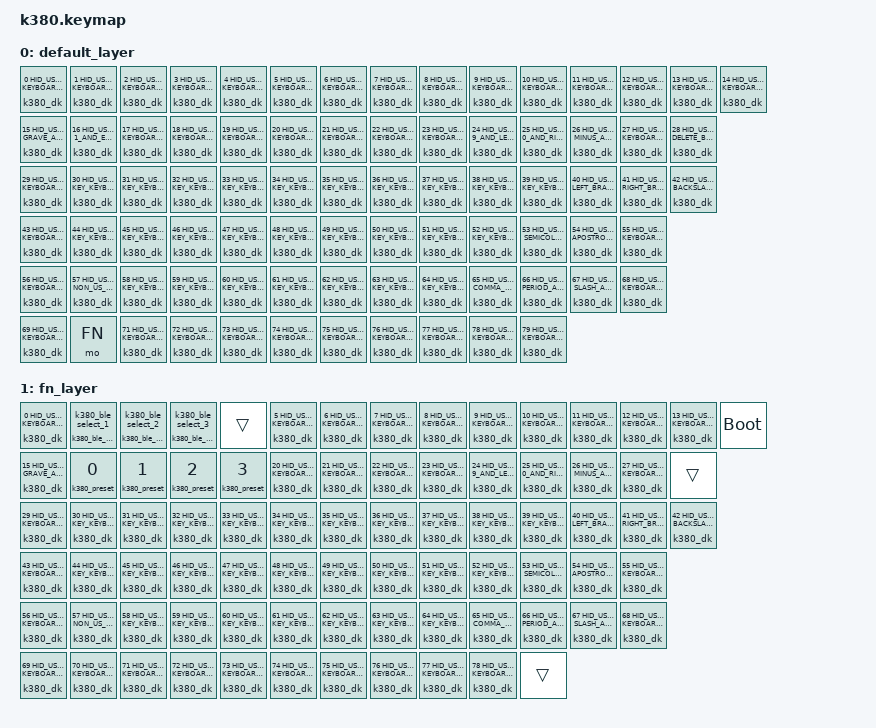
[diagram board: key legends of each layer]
/*
 * Copyright (c) 2026
 *
 * SPDX-License-Identifier: MIT
 */

#include <behaviors.dtsi>
#include <dt-bindings/zmk/keys.h>

#define DEFAULT 0
#define FN      1

#define K380_BLE_SLOT_SELECT 0
#define K380_BLE_SLOT_PAIR   1

/ {
    behaviors {
        k380_ble: k380_ble_slot {
            compatible = "k380,behavior-ble-slot";
            #binding-cells = <2>;
            display-name = "K380 BLE Slot";
        };

        k380_dk: k380_dynamic_key {
            compatible = "k380,behavior-dynamic-key";
            #binding-cells = <2>;
            display-name = "K380 Dynamic Key";
        };

        k380_preset: k380_preset {
            compatible = "k380,behavior-preset-switch";
            #binding-cells = <1>;
            display-name = "K380 Preset";
        };

        k380_bt_1: k380_bt_1 {
            compatible = "zmk,behavior-hold-tap";
            #binding-cells = <2>;
            flavor = "tap-preferred";
            tapping-term-ms = <500>;
            bindings = <&k380_ble_pair_1 &k380_ble_select_1>;
        };

        k380_bt_2: k380_bt_2 {
            compatible = "zmk,behavior-hold-tap";
            #binding-cells = <2>;
            flavor = "tap-preferred";
            tapping-term-ms = <500>;
            bindings = <&k380_ble_pair_2 &k380_ble_select_2>;
        };

        k380_bt_3: k380_bt_3 {
            compatible = "zmk,behavior-hold-tap";
            #binding-cells = <2>;
            flavor = "tap-preferred";
            tapping-term-ms = <500>;
            bindings = <&k380_ble_pair_3 &k380_ble_select_3>;
        };
    };

    macros {
        k380_ble_pair_1: k380_ble_pair_1 {
            compatible = "zmk,behavior-macro";
            #binding-cells = <0>;
            bindings = <&k380_ble K380_BLE_SLOT_PAIR 1>;
        };

        k380_ble_select_1: k380_ble_select_1 {
            compatible = "zmk,behavior-macro";
            #binding-cells = <0>;
            bindings = <&k380_ble K380_BLE_SLOT_SELECT 1>;
        };

        k380_ble_pair_2: k380_ble_pair_2 {
            compatible = "zmk,behavior-macro";
            #binding-cells = <0>;
            bindings = <&k380_ble K380_BLE_SLOT_PAIR 2>;
        };

        k380_ble_select_2: k380_ble_select_2 {
            compatible = "zmk,behavior-macro";
            #binding-cells = <0>;
            bindings = <&k380_ble K380_BLE_SLOT_SELECT 2>;
        };

        k380_ble_pair_3: k380_ble_pair_3 {
            compatible = "zmk,behavior-macro";
            #binding-cells = <0>;
            bindings = <&k380_ble K380_BLE_SLOT_PAIR 3>;
        };

        k380_ble_select_3: k380_ble_select_3 {
            compatible = "zmk,behavior-macro";
            #binding-cells = <0>;
            bindings = <&k380_ble K380_BLE_SLOT_SELECT 3>;
        };
    };

    keymap {
        compatible = "zmk,keymap";

        default_layer {
            bindings = <
                &k380_dk 0 HID_USAGE_KEY_KEYBOARD_ESCAPE     &k380_dk 1 HID_USAGE_KEY_KEYBOARD_F1   &k380_dk 2 HID_USAGE_KEY_KEYBOARD_F2   &k380_dk 3 HID_USAGE_KEY_KEYBOARD_F3   &k380_dk 4 HID_USAGE_KEY_KEYBOARD_F4   &k380_dk 5 HID_USAGE_KEY_KEYBOARD_F5   &k380_dk 6 HID_USAGE_KEY_KEYBOARD_F6   &k380_dk 7 HID_USAGE_KEY_KEYBOARD_F7   &k380_dk 8 HID_USAGE_KEY_KEYBOARD_F8   &k380_dk 9 HID_USAGE_KEY_KEYBOARD_F9   &k380_dk 10 HID_USAGE_KEY_KEYBOARD_F10  &k380_dk 11 HID_USAGE_KEY_KEYBOARD_F11  &k380_dk 12 HID_USAGE_KEY_KEYBOARD_F12  &k380_dk 13 HID_USAGE_KEY_KEYBOARD_INSERT   &k380_dk 14 HID_USAGE_KEY_KEYBOARD_DELETE_FORWARD
                &k380_dk 15 HID_USAGE_KEY_KEYBOARD_GRAVE_ACCENT_AND_TILDE   &k380_dk 16 HID_USAGE_KEY_KEYBOARD_1_AND_EXCLAMATION    &k380_dk 17 HID_USAGE_KEY_KEYBOARD_2_AND_AT   &k380_dk 18 HID_USAGE_KEY_KEYBOARD_3_AND_HASH   &k380_dk 19 HID_USAGE_KEY_KEYBOARD_4_AND_DOLLAR   &k380_dk 20 HID_USAGE_KEY_KEYBOARD_5_AND_PERCENT   &k380_dk 21 HID_USAGE_KEY_KEYBOARD_6_AND_CARET   &k380_dk 22 HID_USAGE_KEY_KEYBOARD_7_AND_AMPERSAND   &k380_dk 23 HID_USAGE_KEY_KEYBOARD_8_AND_ASTERISK   &k380_dk 24 HID_USAGE_KEY_KEYBOARD_9_AND_LEFT_PARENTHESIS   &k380_dk 25 HID_USAGE_KEY_KEYBOARD_0_AND_RIGHT_PARENTHESIS   &k380_dk 26 HID_USAGE_KEY_KEYBOARD_MINUS_AND_UNDERSCORE &k380_dk 27 HID_USAGE_KEY_KEYBOARD_EQUAL_AND_PLUS &k380_dk 28 HID_USAGE_KEY_KEYBOARD_DELETE_BACKSPACE
                &k380_dk 29 HID_USAGE_KEY_KEYBOARD_TAB     &k380_dk 30 HID_USAGE_KEY_KEYBOARD_Q     &k380_dk 31 HID_USAGE_KEY_KEYBOARD_W    &k380_dk 32 HID_USAGE_KEY_KEYBOARD_E    &k380_dk 33 HID_USAGE_KEY_KEYBOARD_R    &k380_dk 34 HID_USAGE_KEY_KEYBOARD_T    &k380_dk 35 HID_USAGE_KEY_KEYBOARD_Y    &k380_dk 36 HID_USAGE_KEY_KEYBOARD_U    &k380_dk 37 HID_USAGE_KEY_KEYBOARD_I    &k380_dk 38 HID_USAGE_KEY_KEYBOARD_O    &k380_dk 39 HID_USAGE_KEY_KEYBOARD_P    &k380_dk 40 HID_USAGE_KEY_KEYBOARD_LEFT_BRACKET_AND_LEFT_BRACE  &k380_dk 41 HID_USAGE_KEY_KEYBOARD_RIGHT_BRACKET_AND_RIGHT_BRACE  &k380_dk 42 HID_USAGE_KEY_KEYBOARD_BACKSLASH_AND_PIPE
                &k380_dk 43 HID_USAGE_KEY_KEYBOARD_CAPS_LOCK    &k380_dk 44 HID_USAGE_KEY_KEYBOARD_A     &k380_dk 45 HID_USAGE_KEY_KEYBOARD_S    &k380_dk 46 HID_USAGE_KEY_KEYBOARD_D    &k380_dk 47 HID_USAGE_KEY_KEYBOARD_F    &k380_dk 48 HID_USAGE_KEY_KEYBOARD_G    &k380_dk 49 HID_USAGE_KEY_KEYBOARD_H    &k380_dk 50 HID_USAGE_KEY_KEYBOARD_J    &k380_dk 51 HID_USAGE_KEY_KEYBOARD_K    &k380_dk 52 HID_USAGE_KEY_KEYBOARD_L    &k380_dk 53 HID_USAGE_KEY_KEYBOARD_SEMICOLON_AND_COLON &k380_dk 54 HID_USAGE_KEY_KEYBOARD_APOSTROPHE_AND_QUOTE   &k380_dk 55 HID_USAGE_KEY_KEYBOARD_RETURN_ENTER
                &k380_dk 56 HID_USAGE_KEY_KEYBOARD_LEFTSHIFT   &k380_dk 57 HID_USAGE_KEY_KEYBOARD_NON_US_BACKSLASH_AND_PIPE  &k380_dk 58 HID_USAGE_KEY_KEYBOARD_Z    &k380_dk 59 HID_USAGE_KEY_KEYBOARD_X    &k380_dk 60 HID_USAGE_KEY_KEYBOARD_C    &k380_dk 61 HID_USAGE_KEY_KEYBOARD_V    &k380_dk 62 HID_USAGE_KEY_KEYBOARD_B    &k380_dk 63 HID_USAGE_KEY_KEYBOARD_N    &k380_dk 64 HID_USAGE_KEY_KEYBOARD_M    &k380_dk 65 HID_USAGE_KEY_KEYBOARD_COMMA_AND_LESS_THAN &k380_dk 66 HID_USAGE_KEY_KEYBOARD_PERIOD_AND_GREATER_THAN   &k380_dk 67 HID_USAGE_KEY_KEYBOARD_SLASH_AND_QUESTION_MARK  &k380_dk 68 HID_USAGE_KEY_KEYBOARD_RIGHTSHIFT
                &k380_dk 69 HID_USAGE_KEY_KEYBOARD_LEFTCONTROL   &mo FN    &k380_dk 71 HID_USAGE_KEY_KEYBOARD_LEFT_GUI &k380_dk 72 HID_USAGE_KEY_KEYBOARD_LEFTALT &k380_dk 73 HID_USAGE_KEY_KEYBOARD_SPACEBAR &k380_dk 74 HID_USAGE_KEY_KEYBOARD_RIGHTALT &k380_dk 75 HID_USAGE_KEY_KEYBOARD_RIGHTCONTROL &k380_dk 76 HID_USAGE_KEY_KEYBOARD_LEFTARROW &k380_dk 77 HID_USAGE_KEY_KEYBOARD_UPARROW   &k380_dk 78 HID_USAGE_KEY_KEYBOARD_DOWNARROW &k380_dk 79 HID_USAGE_KEY_KEYBOARD_RIGHTARROW
            >;
        };

        fn_layer {
            bindings = <
                &k380_dk 0 HID_USAGE_KEY_KEYBOARD_ESCAPE &k380_bt_1 0 0 &k380_bt_2 0 0 &k380_bt_3 0 0 &trans &k380_dk 5 HID_USAGE_KEY_KEYBOARD_F5 &k380_dk 6 HID_USAGE_KEY_KEYBOARD_F6 &k380_dk 7 HID_USAGE_KEY_KEYBOARD_F7 &k380_dk 8 HID_USAGE_KEY_KEYBOARD_F8 &k380_dk 9 HID_USAGE_KEY_KEYBOARD_F9 &k380_dk 10 HID_USAGE_KEY_KEYBOARD_F10 &k380_dk 11 HID_USAGE_KEY_KEYBOARD_F11 &k380_dk 12 HID_USAGE_KEY_KEYBOARD_F12 &k380_dk 13 HID_USAGE_KEY_KEYBOARD_INSERT &bootloader
                &k380_dk 15 HID_USAGE_KEY_KEYBOARD_GRAVE_ACCENT_AND_TILDE &k380_preset 0 &k380_preset 1 &k380_preset 2 &k380_preset 3 &k380_dk 20 HID_USAGE_KEY_KEYBOARD_5_AND_PERCENT &k380_dk 21 HID_USAGE_KEY_KEYBOARD_6_AND_CARET &k380_dk 22 HID_USAGE_KEY_KEYBOARD_7_AND_AMPERSAND &k380_dk 23 HID_USAGE_KEY_KEYBOARD_8_AND_ASTERISK &k380_dk 24 HID_USAGE_KEY_KEYBOARD_9_AND_LEFT_PARENTHESIS &k380_dk 25 HID_USAGE_KEY_KEYBOARD_0_AND_RIGHT_PARENTHESIS &k380_dk 26 HID_USAGE_KEY_KEYBOARD_MINUS_AND_UNDERSCORE &k380_dk 27 HID_USAGE_KEY_KEYBOARD_EQUAL_AND_PLUS &trans
                &k380_dk 29 HID_USAGE_KEY_KEYBOARD_TAB &k380_dk 30 HID_USAGE_KEY_KEYBOARD_Q &k380_dk 31 HID_USAGE_KEY_KEYBOARD_W &k380_dk 32 HID_USAGE_KEY_KEYBOARD_E &k380_dk 33 HID_USAGE_KEY_KEYBOARD_R &k380_dk 34 HID_USAGE_KEY_KEYBOARD_T &k380_dk 35 HID_USAGE_KEY_KEYBOARD_Y &k380_dk 36 HID_USAGE_KEY_KEYBOARD_U &k380_dk 37 HID_USAGE_KEY_KEYBOARD_I &k380_dk 38 HID_USAGE_KEY_KEYBOARD_O &k380_dk 39 HID_USAGE_KEY_KEYBOARD_P &k380_dk 40 HID_USAGE_KEY_KEYBOARD_LEFT_BRACKET_AND_LEFT_BRACE &k380_dk 41 HID_USAGE_KEY_KEYBOARD_RIGHT_BRACKET_AND_RIGHT_BRACE &k380_dk 42 HID_USAGE_KEY_KEYBOARD_BACKSLASH_AND_PIPE
                &k380_dk 43 HID_USAGE_KEY_KEYBOARD_CAPS_LOCK &k380_dk 44 HID_USAGE_KEY_KEYBOARD_A &k380_dk 45 HID_USAGE_KEY_KEYBOARD_S &k380_dk 46 HID_USAGE_KEY_KEYBOARD_D &k380_dk 47 HID_USAGE_KEY_KEYBOARD_F &k380_dk 48 HID_USAGE_KEY_KEYBOARD_G &k380_dk 49 HID_USAGE_KEY_KEYBOARD_H &k380_dk 50 HID_USAGE_KEY_KEYBOARD_J &k380_dk 51 HID_USAGE_KEY_KEYBOARD_K &k380_dk 52 HID_USAGE_KEY_KEYBOARD_L &k380_dk 53 HID_USAGE_KEY_KEYBOARD_SEMICOLON_AND_COLON &k380_dk 54 HID_USAGE_KEY_KEYBOARD_APOSTROPHE_AND_QUOTE &k380_dk 55 HID_USAGE_KEY_KEYBOARD_RETURN_ENTER
                &k380_dk 56 HID_USAGE_KEY_KEYBOARD_LEFTSHIFT &k380_dk 57 HID_USAGE_KEY_KEYBOARD_NON_US_BACKSLASH_AND_PIPE &k380_dk 58 HID_USAGE_KEY_KEYBOARD_Z &k380_dk 59 HID_USAGE_KEY_KEYBOARD_X &k380_dk 60 HID_USAGE_KEY_KEYBOARD_C &k380_dk 61 HID_USAGE_KEY_KEYBOARD_V &k380_dk 62 HID_USAGE_KEY_KEYBOARD_B &k380_dk 63 HID_USAGE_KEY_KEYBOARD_N &k380_dk 64 HID_USAGE_KEY_KEYBOARD_M &k380_dk 65 HID_USAGE_KEY_KEYBOARD_COMMA_AND_LESS_THAN &k380_dk 66 HID_USAGE_KEY_KEYBOARD_PERIOD_AND_GREATER_THAN &k380_dk 67 HID_USAGE_KEY_KEYBOARD_SLASH_AND_QUESTION_MARK &k380_dk 68 HID_USAGE_KEY_KEYBOARD_RIGHTSHIFT
                &k380_dk 69 HID_USAGE_KEY_KEYBOARD_LEFTCONTROL &k380_dk 70 HID_USAGE_KEY_KEYBOARD_LEFT_GUI &k380_dk 71 HID_USAGE_KEY_KEYBOARD_LEFTALT &k380_dk 72 HID_USAGE_KEY_KEYBOARD_SPACEBAR &k380_dk 73 HID_USAGE_KEY_KEYBOARD_RIGHTALT &k380_dk 74 HID_USAGE_KEY_KEYBOARD_RIGHTCONTROL &k380_dk 75 HID_USAGE_KEY_KEYBOARD_LEFTARROW &k380_dk 76 HID_USAGE_KEY_KEYBOARD_UPARROW &k380_dk 77 HID_USAGE_KEY_KEYBOARD_DOWNARROW &k380_dk 78 HID_USAGE_KEY_KEYBOARD_RIGHTARROW &trans
            >;
        };
    };
};
